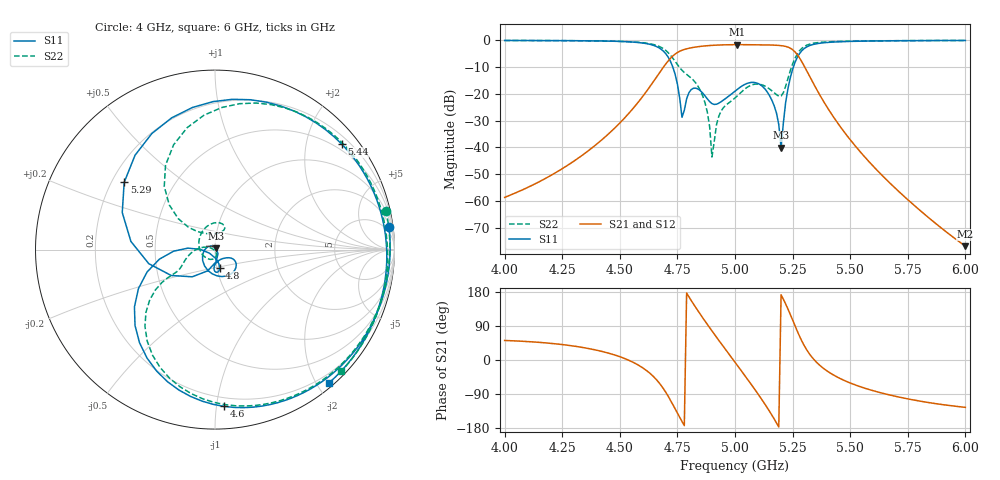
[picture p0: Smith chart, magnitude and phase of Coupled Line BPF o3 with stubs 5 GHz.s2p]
! Sonnet Data File
! From: sonnet Version : 18.53-Lite
! From Emgraph Data:
! Data File Written: 03/30/2024 16:41:57
!< HDATE 03/30/2024 16:40:17
!< MDATE 03/30/2024 16:40:17
!< PARAMS
!< L0 = 1.75
!< W1 = 0.93
!< L1 = 8.88
!< Lstub = 7.9
!< Wstub = 0.7
!< L2 = 8.71
!< W2 = 1.27
!< END PARAMS
# GHZ S MA R 50.00000
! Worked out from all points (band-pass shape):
!   201 points, 4 GHz to 6 GHz, reference 50 ohm
!   highest |S21| = -1.76 dB at 5.01 GHz (marker M1); lowest = -76.7 dB at 6 GHz (marker M2)
!   |S21| within 3 dB of the highest: 4.749 GHz to 5.263 GHz (514.5 MHz wide, 10.3 % of centre)
!   lowest |S11| = -40.1 dB at 5.2 GHz (marker M3), VSWR 1.02, Z = 50.6 + j0.817 ohm
!   |S11| at or under -10 dB: 4.73 GHz to 5.254 GHz (524.1 MHz wide, 10.5 % of centre)
!   |S22| runs from -43.6 to -0.2 dB; largest |S21 - S12| = 1e-13
!   S11 on the Smith chart (normalised r, x): 4 GHz: 3, +15; 4.6 GHz: 0.14, -1.05; 4.8 GHz: 1.03, -0.21; 5.29 GHz: 0.25, +0.31; 5.44 GHz: 0.36, +2.72; 6 GHz: 0.07, -2.16
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4  0.9772 7.6  0.001178 51.6  0.001178 51.6  0.9767 12.9
4.34  0.9648 -30.2  0.00731 32.9  0.00731 32.9  0.9644 -24.8
4.6  0.8749 -86.8  0.08958 -20.9  0.08958 -20.9  0.8873 -79.1
4.67  0.7134 -122.0  0.2373 -59.8  0.2373 -59.8  0.7598 -109.5
4.73  0.3145 -170.2  0.5016 -117.4  0.5016 -117.4  0.4586 -142.4
4.77  0.03638 -146.1  0.6427 -162.4  0.6427 -162.4  0.2722 -149.5
4.8  0.1043 -75.6  0.7001 166.6  0.7001 166.6  0.2117 -153.0
4.87  0.0909 -92.0  0.7742 102.5  0.7742 102.5  0.06729 168.7
4.89  0.07118 -82.5  0.7869 85.2  0.7869 85.2  0.02421 158.9
4.9  0.06536 -74.2  0.7921 76.7  0.7921 76.7  0.006636 -176.2
4.93  0.06672 -48.2  0.8039 51.6  0.8039 51.6  0.03845 -79.9
5  0.1114 -27.4  0.8165 -5.9  0.8165 -5.9  0.08327 -177.5
5.01  0.1204 -28.1  0.8167 -14.1  0.8167 -14.1  0.09127 167.5
5.11  0.1465 -85.9  0.8105 -98.5  0.8105 -98.5  0.1491 74.3
5.17  0.05963 -177.2  0.8002 -155.5  0.8002 -155.5  0.1042 70.7
5.2  0.009919 54.5  0.7828 172.0  0.7828 172.0  0.09036 103.7
5.23  0.1255 -109.2  0.7349 134.4  0.7349 134.4  0.1938 139.9
5.29  0.6297 143.5  0.393 50.1  0.393 50.1  0.697 102.8
5.34  0.8247 90.7  0.1559 3.1  0.1559 3.1  0.8664 68.8
5.44  0.9187 39.8  0.03082 -43.8  0.03082 -43.8  0.9345 32.6
5.67  0.9629 -10.6  0.002225 -92.1  0.002225 -92.1  0.9655 -8.4
6  0.9772 -49.6  0.0001459 -125.0  0.0001459 -125.0  0.9769 -43.8
